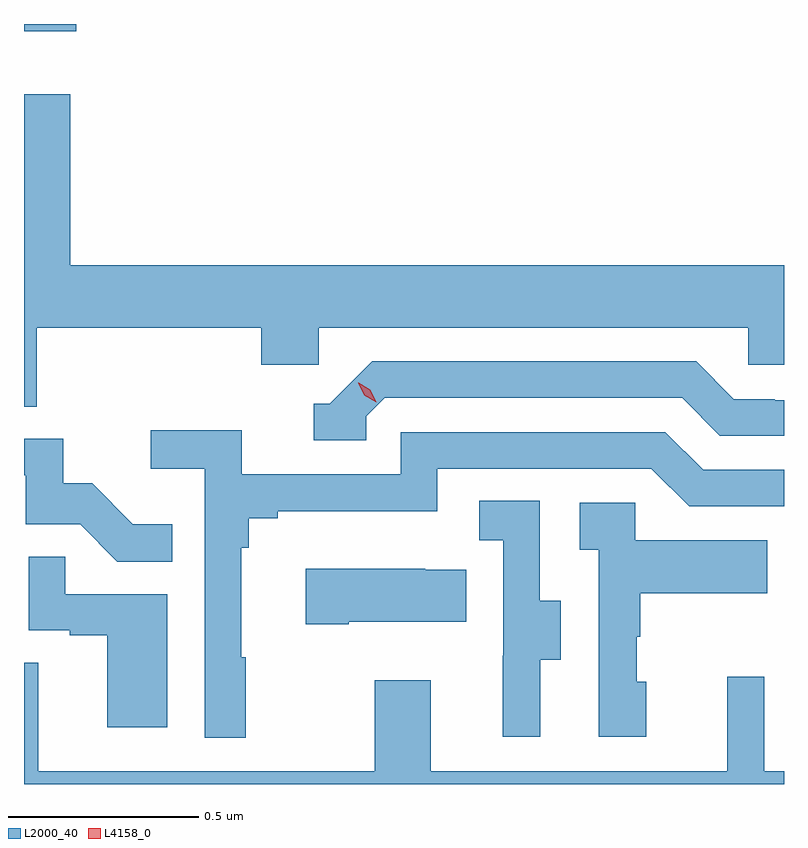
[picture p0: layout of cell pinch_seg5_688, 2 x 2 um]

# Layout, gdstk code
import gdstk
lib = gdstk.Library(unit=1e-6, precision=1e-09)
def R(c, l, rs):  # rectangles x0, y0, x1, y1
    for r in rs: c.add(gdstk.rectangle(r[:2], r[2:], *l))
def P(c, l, *ps):  # polygons
    for p in ps: c.add(gdstk.Polygon(p, *l))
L2000_40 = (2000, 40)
L4158_0 = (4158, 0)

pinch_seg5_688 = lib.new_cell('pinch_seg5_688')
R(pinch_seg5_688, L2000_40, [(1097.747,845.552,1097.884,845.571)])
P(pinch_seg5_688, L2000_40, [(1097.78,844.772),(1098.371,844.772),(1098.371,844.674),(1098.522,844.674),(1098.522,844.772),(1099.653,844.772),(1099.653,844.674),(1099.747,844.674),(1099.747,844.936),(1097.869,844.936),(1097.869,845.386),(1097.747,845.386),(1097.747,844.564),(1097.78,844.564)],
  [(1098.648,844.539),(1098.696,844.587),(1099.479,844.587),(1099.578,844.488),(1099.747,844.488),(1099.747,844.581),(1099.722,844.581),(1099.722,844.584),(1099.615,844.584),(1099.516,844.683),(1098.663,844.683),(1098.552,844.572),(1098.509,844.572),(1098.509,844.476),(1098.648,844.476)],
  [(1098.331,843.905),(1098.319,843.905),(1098.319,844.193),(1098.338,844.193),(1098.338,844.27),(1098.415,844.27),(1098.415,844.289),(1098.834,844.289),(1098.834,844.401),(1099.398,844.401),(1099.497,844.302),(1099.747,844.302),(1099.747,844.398),(1099.534,844.398),(1099.435,844.497),(1098.738,844.497),(1098.738,844.386),(1098.32,844.386),(1098.32,844.502),(1098.081,844.502),(1098.081,844.4),(1098.222,844.4),(1098.222,843.693),(1098.331,843.693)],
  [(1098.137,844.255),(1098.033,844.255),(1097.926,844.362),(1097.85,844.362),(1097.85,844.479),(1097.747,844.479),(1097.747,844.383),(1097.751,844.383),(1097.751,844.254),(1097.895,844.254),(1097.993,844.156),(1098.137,844.156)],
  [(1099.105,843.898),(1099.159,843.898),(1099.159,844.053),(1099.104,844.053),(1099.104,844.316),(1098.945,844.316),(1098.945,844.213),(1099.008,844.213),(1099.008,843.909),(1099.007,843.909),(1099.007,843.696),(1099.105,843.696)],
  [(1099.384,843.84),(1099.359,843.84),(1099.359,843.959),(1099.369,843.959),(1099.369,844.073),(1099.703,844.073),(1099.703,844.213),(1099.356,844.213),(1099.356,844.311),(1099.209,844.311),(1099.209,844.187),(1099.26,844.187),(1099.26,843.696),(1099.384,843.696)],
  [(1098.124,844.071),(1097.855,844.071),(1097.855,844.169),(1097.76,844.169),(1097.76,843.975),(1097.867,843.975),(1097.867,843.963),(1097.966,843.963),(1097.966,843.72),(1098.124,843.72)],
  [(1098.601,843.998),(1098.911,843.998),(1098.911,844.135),(1098.803,844.135),(1098.803,844.138),(1098.489,844.138),(1098.489,843.991),(1098.601,843.991)],
  [(1099.747,843.604),(1099.695,843.604),(1099.695,843.853),(1099.598,843.853),(1099.598,843.604),(1098.817,843.604),(1098.817,843.844),(1098.67,843.844),(1098.67,843.604),(1097.785,843.604),(1097.785,843.89),(1097.747,843.89),(1097.747,843.571),(1099.747,843.571)])
P(pinch_seg5_688, L4158_0, [(1098.674,844.575),(1098.643,844.594),(1098.627,844.627),(1098.627,844.627),(1098.628,844.627),(1098.658,844.608),(1098.674,844.575),(1098.674,844.575)])

lib.write_gds('pinch_seg5_688.gds')
